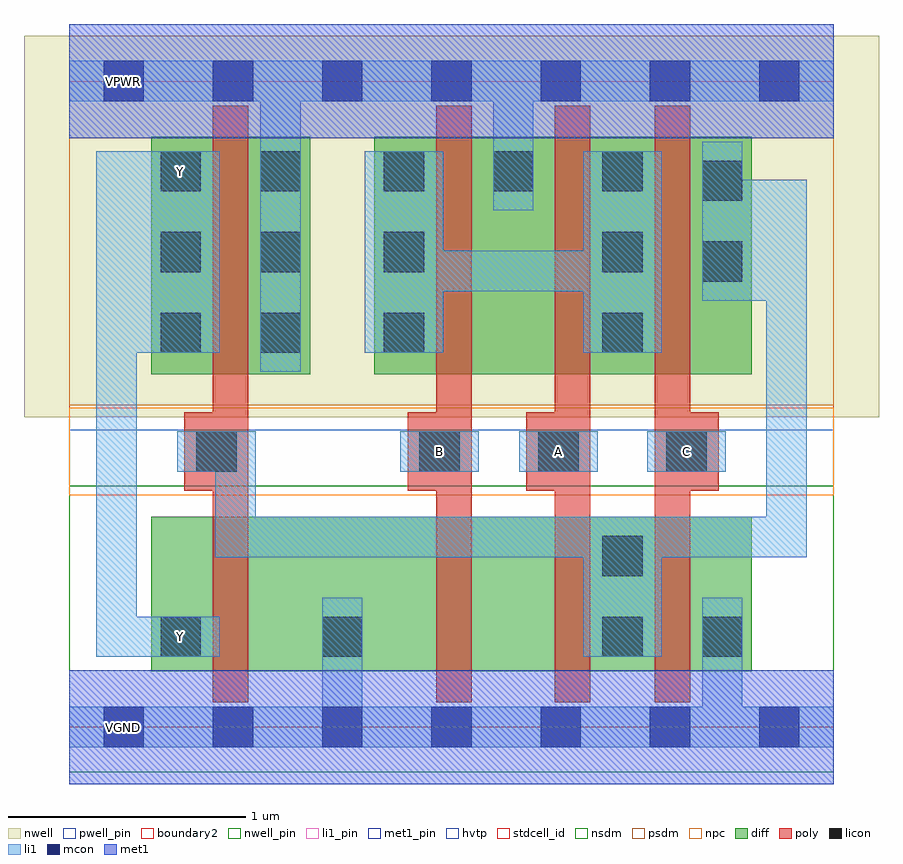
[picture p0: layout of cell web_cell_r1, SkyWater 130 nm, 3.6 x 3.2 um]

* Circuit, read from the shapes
.subckt web_cell_r1 A B C VGND VNB VPB VPWR Y
XM1 VGND n1 Y VNB sky130_fd_pr__nfet_01v8 w=0.65 l=0.15
XM2 n2 B VGND VNB sky130_fd_pr__nfet_01v8 w=0.65 l=0.15
XM3 n1 A n2 VNB sky130_fd_pr__nfet_01v8 w=0.65 l=0.15
XM4 VGND C n1 VNB sky130_fd_pr__nfet_01v8 w=0.65 l=0.15
XM5 VPWR n1 Y VPB sky130_fd_pr__pfet_01v8_hvt w=1 l=0.15
XM6 VPWR B n3 VPB sky130_fd_pr__pfet_01v8_hvt w=1 l=0.15
XM7 n3 A VPWR VPB sky130_fd_pr__pfet_01v8_hvt w=1 l=0.15
XM8 n1 C n3 VPB sky130_fd_pr__pfet_01v8_hvt w=1 l=0.15
.ends

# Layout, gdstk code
import gdstk
lib = gdstk.Library(unit=1e-6, precision=1e-09)
def R(c, l, rs):  # rectangles x0, y0, x1, y1
    for r in rs: c.add(gdstk.rectangle(r[:2], r[2:], *l))
def A(c, l, x, y, w, h, nx, ny, dx, dy):  # array of equal rectangles
    R(c, l, [(x+i*dx, y+j*dy, x+i*dx+w, y+j*dy+h) for i in range(nx) for j in range(ny)])
nwell_pin = (64, 16)
nwell = (64, 20)
diff = (65, 20)
poly = (66, 20)
licon = (66, 44)
li1_pin = (67, 16)
li1 = (67, 20)
mcon = (67, 44)
met1_pin = (68, 16)
met1 = (68, 20)
hvtp = (78, 44)
stdcell_id = (81, 4)
nsdm = (93, 44)
psdm = (94, 20)
npc = (95, 20)
pwell_pin = (122, 16)
boundary2 = (236, 0)

web_cell_r1 = lib.new_cell('web_cell_r1')
R(web_cell_r1, nwell_pin, [(0.145,2.635,0.315,2.805)])
R(web_cell_r1, nwell, [(-0.19,1.305,3.41,2.91)])
R(web_cell_r1, diff, [(0.345,0.235,1.15,0.885), (1.15,0.235,1.87,0.885), (1.87,0.235,2.33,0.885), (2.33,0.235,2.875,0.885), (0.345,1.485,1.015,2.485), (1.285,1.485,1.87,2.485), (1.87,1.485,2.33,2.485), (2.33,1.485,2.875,2.485)])
R(web_cell_r1, poly, [(0.605,0.105,0.755,2.615), (1.545,0.105,1.695,2.615), (2.045,0.105,2.195,2.615), (2.465,0.105,2.615,2.615), (0.485,0.995,0.755,1.325), (1.425,0.995,1.695,1.325), (1.925,0.995,2.195,1.325), (2.465,0.995,2.735,1.325)])
A(web_cell_r1, licon, 0.385, 1.575, 0.17, 0.17, 1, 3, 0, 0.34)
A(web_cell_r1, licon, 0.805, 1.575, 0.17, 0.17, 1, 3, 0, 0.34)
A(web_cell_r1, licon, 1.325, 2.255, 0.17, 0.17, 3, 1, 0.46, 0)
R(web_cell_r1, licon, [(0.385,0.295,0.555,0.465), (1.065,0.295,1.235,0.465), (2.245,0.295,2.415,0.465), (2.665,0.295,2.835,0.465), (2.245,0.635,2.415,0.805), (0.535,1.075,0.705,1.245), (1.475,1.075,1.645,1.245), (1.975,1.075,2.145,1.245), (2.515,1.075,2.685,1.245), (1.325,1.575,1.495,1.745), (2.245,1.575,2.415,1.745), (2.665,1.875,2.835,2.045), (1.325,1.915,1.495,2.085), (2.245,1.915,2.415,2.085), (2.665,2.215,2.835,2.385)])
R(web_cell_r1, li1_pin, [(0.385,0.295,0.555,0.465), (1.475,1.075,1.645,1.245), (1.975,1.075,2.145,1.245), (2.515,1.075,2.685,1.245), (0.385,2.255,0.555,2.425)])
R(web_cell_r1, li1, [(0,-0.085,3.22,0.085), (1.065,-0.085,1.235,0.545), (2.665,-0.085,2.835,0.545), (0.115,0.295,0.475,0.465), (0.115,0.295,0.285,2.425), (0.285,0.295,0.305,0.465), (0.285,0.295,0.305,0.465), (0.285,0.295,0.305,0.465), (0.285,0.295,0.305,0.465), (0.305,0.295,0.635,0.465), (2.165,0.295,2.495,0.465), (2.165,0.295,2.335,0.885), (2.165,0.295,2.495,0.805), (0.615,0.715,0.785,1.245), (0.615,0.715,2.335,0.885), (2.165,0.715,3.105,0.885), (2.935,0.715,3.105,2.305), (0.455,1.075,0.785,1.245), (1.395,1.075,1.725,1.245), (1.895,1.075,2.225,1.245), (2.435,1.075,2.765,1.245), (0.805,1.495,0.975,2.085), (0.285,1.575,0.305,2.085), (0.285,1.575,0.305,2.085), (0.285,1.575,0.305,2.085), (0.285,1.575,0.305,2.085), (0.305,1.575,0.635,2.085), (1.245,1.575,1.575,2.085), (2.165,1.575,2.495,2.085), (2.665,1.795,2.835,2.385), (2.835,1.795,2.935,2.305), (2.835,1.795,2.935,2.305), (2.835,1.795,2.935,2.305), (2.835,1.795,2.935,2.305), (0.805,1.835,0.975,2.425), (1.405,1.835,1.575,2.425), (1.405,1.835,2.335,2.005), (2.165,1.835,2.335,2.425), (0.285,1.915,0.305,2.425), (0.285,1.915,0.305,2.425), (0.285,1.915,0.305,2.425), (0.285,1.915,0.305,2.425), (0.305,1.915,0.635,2.425), (1.245,1.915,1.575,2.425), (2.165,1.915,2.495,2.425), (0.805,2.085,0.975,2.175), (0.805,2.085,0.975,2.175), (0.805,2.085,0.975,2.175), (0.805,2.085,0.975,2.175), (2.665,2.135,2.835,2.465), (2.665,2.135,3.105,2.305), (2.835,2.135,2.935,2.305), (2.835,2.135,2.935,2.305), (2.835,2.135,2.935,2.305), (2.835,2.135,2.935,2.305), (0.805,2.175,0.975,2.805), (1.785,2.175,1.955,2.805), (0.115,2.255,0.475,2.425), (0.285,2.255,0.305,2.425), (0.285,2.255,0.305,2.425), (0.285,2.255,0.305,2.425), (0.285,2.255,0.305,2.425), (0.305,2.255,0.635,2.425), (1.245,2.255,1.575,2.425), (2.165,2.255,2.495,2.425), (0,2.635,3.22,2.805)])
A(web_cell_r1, mcon, 0.145, -0.085, 0.17, 0.17, 7, 2, 0.46, 2.72)
R(web_cell_r1, met1_pin, [(0.145,-0.085,0.315,0.085), (0.145,2.635,0.315,2.805)])
R(web_cell_r1, met1, [(0,-0.24,3.22,0.24), (0,2.48,3.22,2.96)])
R(web_cell_r1, hvtp, [(0,1.25,3.22,2.72)])
R(web_cell_r1, stdcell_id, [(0,0,3.22,2.72)])
R(web_cell_r1, nsdm, [(0,-0.19,3.22,1.015)])
R(web_cell_r1, psdm, [(0,1.355,3.22,2.91)])
R(web_cell_r1, npc, [(0,0.975,3.22,1.345)])
R(web_cell_r1, pwell_pin, [(0.145,-0.085,0.315,0.085)])
R(web_cell_r1, boundary2, [(0,0,3.22,2.72)])
web_cell_r1.add(gdstk.Label('A', (2.06,1.16), layer=67, texttype=5))
web_cell_r1.add(gdstk.Label('B', (1.56,1.16), layer=67, texttype=5))
web_cell_r1.add(gdstk.Label('C', (2.6,1.16), layer=67, texttype=5))
web_cell_r1.add(gdstk.Label('Y', (0.47,0.38), layer=67, texttype=5))
web_cell_r1.add(gdstk.Label('Y', (0.47,2.34), layer=67, texttype=5))
web_cell_r1.add(gdstk.Label('VGND', (0.23,0), layer=68, texttype=5))
web_cell_r1.add(gdstk.Label('VPWR', (0.23,2.72), layer=68, texttype=5))
web_cell_r1.add(gdstk.Label('VPB', (0.23,2.72), layer=64, texttype=5))
web_cell_r1.add(gdstk.Label('VNB', (0.23,0), layer=64, texttype=59))

lib.write_gds('web_cell_r1.gds')
